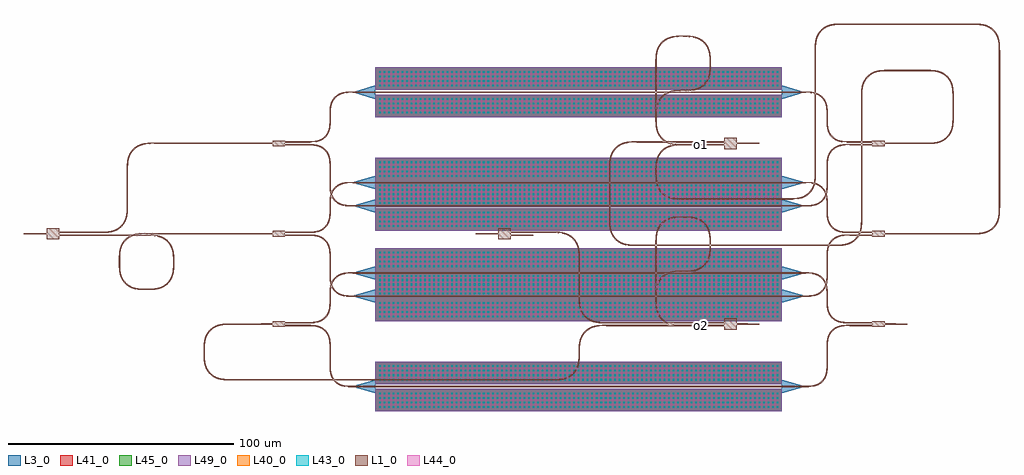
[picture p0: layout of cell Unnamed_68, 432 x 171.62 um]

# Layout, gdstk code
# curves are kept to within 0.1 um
from math import pi, radians
import gdstk
lib = gdstk.Library(unit=1e-6, precision=1e-09)
def R(c, l, rs):  # rectangles x0, y0, x1, y1
    for r in rs: c.add(gdstk.rectangle(r[:2], r[2:], *l))
def P(c, l, *ps):  # polygons
    for p in ps: c.add(gdstk.Polygon(p, *l))
L1_0 = (1, 0)
L3_0 = (3, 0)
L40_0 = (40, 0)
L41_0 = (41, 0)
L43_0 = (43, 0)
L44_0 = (44, 0)
L45_0 = (45, 0)
L49_0 = (49, 0)

mmi_gdsfactorypcomponent = lib.new_cell('mmi_gdsfactorypcomponentspmmispmmi_I1_O2_WNone_WT1_LT10_571b94f3')
P(mmi_gdsfactorypcomponent, L1_0, [(0,-2.5),(0,-0.5),(-10,-0.25),(-10,0.25),(0,0.5),(0,2.5),(5.5,2.5),(5.5,1.125),(15.5,0.875),(15.5,0.375),(5.5,0.125),(5.5,-0.125),(15.5,-0.375),(15.5,-0.875),(5.5,-1.125),(5.5,-2.5)])

mmi1x2_gdsfactorypcompon = lib.new_cell('mmi1x2_gdsfactorypcomponentspmmispmmi1x2_WNone_WT1_LT10_1f097353')
P(mmi1x2_gdsfactorypcompon, L1_0, [(0,-1.25),(0,-0.5),(-10,-0.25),(-10,0.25),(0,0.5),(0,1.25),(5.5,1.25),(5.5,1.125),(15.5,0.875),(15.5,0.375),(5.5,0.125),(5.5,-0.125),(15.5,-0.375),(15.5,-0.875),(5.5,-1.125),(5.5,-1.25)])

bend_euler_gdsfactorypco = lib.new_cell('bend_euler_gdsfactorypcomponentspbendspbend_euler_RNone_387600b2')
P(bend_euler_gdsfactorypco, L1_0, [(0,-0.25),(0,0.25),(2.881,0.353),(3.952,0.52),(4.99,0.806),(6.431,1.505),(7.575,2.425),(8.495,3.569),(9.194,5.01),(9.48,6.048),(9.647,7.119),(9.75,10),(10.25,10),(10.158,7.205),(9.797,5.254),(9.457,4.312),(9.066,3.545),(8.5,2.715),(7.928,2.072),(7.285,1.5),(6.455,0.934),(5.688,0.543),(4.746,0.203),(2.795,-0.158)])

straight_gdsfactorypcomp = lib.new_cell('straight_gdsfactorypcomponentspwaveguidespstraight_L2_N_815d3d03')
R(straight_gdsfactorypcomp, L1_0, [(0,-0.25,2,0.25)])

c_straight_gdsfactorypcomp = lib.new_cell('straight_gdsfactorypcomponentspwaveguidespstraight_L7_N_ecd9aecc')
R(c_straight_gdsfactorypcomp, L1_0, [(0,-0.25,7,0.25)])

c_straight_gdsfactorypcomp_ = lib.new_cell('straight_gdsfactorypcomponentspwaveguidespstraight_L180_c6573083')
R(c_straight_gdsfactorypcomp_, L1_0, [(0,-0.25,180,0.25)])

taper_strip_to_ridge_gds = lib.new_cell('taper_strip_to_ridge_gdsfactorypcomponentsptapersptaper_947a0bf0')
R(taper_strip_to_ridge_gds, L1_0, [(0,-0.25,10,0.25)])
P(taper_strip_to_ridge_gds, L3_0, [(10,-3),(0,-0.075),(0,0.075),(10,3)])

compass_gdsfactorypcompo = lib.new_cell('compass_gdsfactorypcomponentspshapespcompass_S180_10_LS_ac7757bf')
R(compass_gdsfactorypcompo, L3_0, [(-90,-5,90,5)])

c_compass_gdsfactorypcompo = lib.new_cell('compass_gdsfactorypcomponentspshapespcompass_S180_10_LM_4e0af846')
R(c_compass_gdsfactorypcompo, L41_0, [(-90,-5,90,5)])

c_compass_gdsfactorypcompo_ = lib.new_cell('compass_gdsfactorypcomponentspshapespcompass_S180_10_LM_ffb56291')
R(c_compass_gdsfactorypcompo_, L45_0, [(-90,-5,90,5)])

c_compass_gdsfactorypcompo__ = lib.new_cell('compass_gdsfactorypcomponentspshapespcompass_S180_10_LM_d431091e')
R(c_compass_gdsfactorypcompo__, L49_0, [(-90,-5,90,5)])

via_gdsfactorypcomponent = lib.new_cell('via_gdsfactorypcomponentspviaspvia_S0p7_0p7_E1_LVIAC_BL_572539c8')
R(via_gdsfactorypcomponent, L40_0, [(-0.35,-0.35,0.35,0.35)])

c_via_gdsfactorypcomponent = lib.new_cell('via_gdsfactorypcomponentspviaspvia_S0p7_0p7_E2_LVIA1_BL_efa29aa3')
R(c_via_gdsfactorypcomponent, L44_0, [(-0.35,-0.35,0.35,0.35)])

c_via_gdsfactorypcomponent_ = lib.new_cell('via_gdsfactorypcomponentspviaspvia_S0p7_0p7_E1_LVIA2_BL_c51b5ebb')
R(c_via_gdsfactorypcomponent_, L43_0, [(-0.35,-0.35,0.35,0.35)])

via_stack_gdsfactorypcom = lib.new_cell('via_stack_gdsfactorypcomponentspviaspvia_stack_S180_10__ac52c1b0')
via_stack_gdsfactorypcom.add(gdstk.Reference(compass_gdsfactorypcompo, (0,0)))
via_stack_gdsfactorypcom.add(gdstk.Reference(c_compass_gdsfactorypcompo, (0,0)))
via_stack_gdsfactorypcom.add(gdstk.Reference(c_compass_gdsfactorypcompo_, (0,0)))
via_stack_gdsfactorypcom.add(gdstk.Reference(c_compass_gdsfactorypcompo__, (0,0)))
r = gdstk.Reference(via_gdsfactorypcomponent, (-88,-3)); r.repetition = gdstk.Repetition(89, 4, v1=(2,0), v2=(0,2)); via_stack_gdsfactorypcom.add(r)
r = gdstk.Reference(c_via_gdsfactorypcomponent, (-87,-2)); r.repetition = gdstk.Repetition(88, 3, v1=(2,0), v2=(0,2)); via_stack_gdsfactorypcom.add(r)
r = gdstk.Reference(c_via_gdsfactorypcomponent_, (-88,-3)); r.repetition = gdstk.Repetition(89, 4, v1=(2,0), v2=(0,2)); via_stack_gdsfactorypcom.add(r)

straight_pin_gdsfactoryp = lib.new_cell('straight_pin_gdsfactorypcomponentspwaveguidespstraight__77e81821')
straight_pin_gdsfactoryp.add(gdstk.Reference(c_straight_gdsfactorypcomp_, (0,0)))
straight_pin_gdsfactoryp.add(gdstk.Reference(taper_strip_to_ridge_gds, (-10,0)))
straight_pin_gdsfactoryp.add(gdstk.Reference(taper_strip_to_ridge_gds, (190,0), rotation=pi))
straight_pin_gdsfactoryp.add(gdstk.Reference(via_stack_gdsfactorypcom, (90,6)))
straight_pin_gdsfactoryp.add(gdstk.Reference(via_stack_gdsfactorypcom, (90,-6)))

mzi_gdsfactorypcomponent = lib.new_cell('mzi_gdsfactorypcomponentspmzispmzi_DL10_LY2_LX200_Bbend_d03ef107')
mzi_gdsfactorypcomponent.add(gdstk.Reference(mmi1x2_gdsfactorypcompon, (0,0)))
mzi_gdsfactorypcomponent.add(gdstk.Reference(bend_euler_gdsfactorypco, (15.5,-0.625), x_reflection=True))
mzi_gdsfactorypcomponent.add(gdstk.Reference(bend_euler_gdsfactorypco, (25.5,-17.625), rotation=3*pi/2))
mzi_gdsfactorypcomponent.add(gdstk.Reference(bend_euler_gdsfactorypco, (15.5,0.625)))
mzi_gdsfactorypcomponent.add(gdstk.Reference(bend_euler_gdsfactorypco, (35.5,22.625), rotation=pi))
mzi_gdsfactorypcomponent.add(gdstk.Reference(bend_euler_gdsfactorypco, (245.5,12.625), rotation=pi/2))
mzi_gdsfactorypcomponent.add(gdstk.Reference(bend_euler_gdsfactorypco, (245.5,10.625), rotation=3*pi/2))
mzi_gdsfactorypcomponent.add(gdstk.Reference(bend_euler_gdsfactorypco, (235.5,-27.625)))
mzi_gdsfactorypcomponent.add(gdstk.Reference(bend_euler_gdsfactorypco, (255.5,-0.625), rotation=pi))
mzi_gdsfactorypcomponent.add(gdstk.Reference(straight_gdsfactorypcomp, (25.5,10.625), rotation=pi/2))
mzi_gdsfactorypcomponent.add(gdstk.Reference(c_straight_gdsfactorypcomp, (25.5,-10.625), rotation=3*pi/2))
mzi_gdsfactorypcomponent.add(gdstk.Reference(straight_pin_gdsfactoryp, (45.5,22.625)))
mzi_gdsfactorypcomponent.add(gdstk.Reference(straight_pin_gdsfactoryp, (45.5,-27.625)))
mzi_gdsfactorypcomponent.add(gdstk.Reference(mmi1x2_gdsfactorypcompon, (271,0), rotation=pi, x_reflection=True))
mzi_gdsfactorypcomponent.add(gdstk.Reference(straight_gdsfactorypcomp, (245.5,10.625), rotation=pi/2))
mzi_gdsfactorypcomponent.add(gdstk.Reference(c_straight_gdsfactorypcomp, (245.5,-17.625), rotation=pi/2))

c_mmi_gdsfactorypcomponent = lib.new_cell('mmi_gdsfactorypcomponentspmmispmmi_I2_O1_WNone_WT1_LT10_62ac434d')
P(c_mmi_gdsfactorypcomponent, L1_0, [(0,-2.5),(0,-1.125),(-10,-0.875),(-10,-0.375),(0,-0.125),(0,0.125),(-10,0.375),(-10,0.875),(0,1.125),(0,2.5),(5.5,2.5),(5.5,0.5),(15.5,0.25),(15.5,-0.25),(5.5,-0.5),(5.5,-2.5)])

c_bend_euler_gdsfactorypco = lib.new_cell('bend_euler_gdsfactorypcomponentspbendspbend_euler_R12_A_9e9e73f9')
P(c_bend_euler_gdsfactorypco, L1_0, [(0,-0.25),(0,0.25),(1.893,0.27),(3.499,0.378),(4.815,0.589),(5.963,0.906),(6.826,1.256),(7.653,1.707),(8.422,2.249),(9.125,2.875),(9.751,3.578),(10.293,4.347),(10.744,5.174),(11.094,6.037),(11.411,7.185),(11.622,8.501),(11.73,10.107),(11.75,12),(12.25,12),(12.147,8.72),(11.981,7.488),(11.733,6.406),(11.369,5.351),(10.865,4.328),(10.317,3.493),(9.579,2.623),(8.733,1.857),(7.795,1.208),(6.78,0.686),(5.728,0.306),(4.512,0.019),(3.28,-0.147)])

c_straight_gdsfactorypcomp__ = lib.new_cell('straight_gdsfactorypcomponentspwaveguidespstraight_L8p2_ef4555e0')
R(c_straight_gdsfactorypcomp__, L1_0, [(0,-0.25,8.25,0.25)])

c_straight_gdsfactorypcomp___ = lib.new_cell('straight_gdsfactorypcomponentspwaveguidespstraight_L15p_4ae217e7')
R(c_straight_gdsfactorypcomp___, L1_0, [(0,-0.25,15.375,0.25)])

c_straight_gdsfactorypcomp____ = lib.new_cell('straight_gdsfactorypcomponentspwaveguidespstraight_L42p_e911443d')
R(c_straight_gdsfactorypcomp____, L1_0, [(0,-0.25,42.25,0.25)])

c_straight_gdsfactorypcomp_____ = lib.new_cell('straight_gdsfactorypcomponentspwaveguidespstraight_L28p_35f6d910')
R(c_straight_gdsfactorypcomp_____, L1_0, [(0,-0.25,28.75,0.25)])

c_straight_gdsfactorypcomp______ = lib.new_cell('straight_gdsfactorypcomponentspwaveguidespstraight_L0p6_1afb0928')
R(c_straight_gdsfactorypcomp______, L1_0, [(0,-0.25,0.625,0.25)])

c_straight_gdsfactorypcomp_______ = lib.new_cell('straight_gdsfactorypcomponentspwaveguidespstraight_L45p_aac8c24e')
R(c_straight_gdsfactorypcomp_______, L1_0, [(0,-0.25,45.75,0.25)])

c_straight_gdsfactorypcomp________ = lib.new_cell('straight_gdsfactorypcomponentspwaveguidespstraight_L16p_2c325ffd')
R(c_straight_gdsfactorypcomp________, L1_0, [(0,-0.25,16.501,0.25)])

c_straight_gdsfactorypcomp_________ = lib.new_cell('straight_gdsfactorypcomponentspwaveguidespstraight_L53p_8c3c79f9')
R(c_straight_gdsfactorypcomp_________, L1_0, [(0,-0.25,53.375,0.25)])

c_straight_gdsfactorypcomp__________ = lib.new_cell('straight_gdsfactorypcomponentspwaveguidespstraight_L87p_02055dd5')
R(c_straight_gdsfactorypcomp__________, L1_0, [(0,-0.25,87.499,0.25)])

c_straight_gdsfactorypcomp___________ = lib.new_cell('straight_gdsfactorypcomponentspwaveguidespstraight_L21p_b419e0d6')
R(c_straight_gdsfactorypcomp___________, L1_0, [(0,-0.25,21.75,0.25)])

c_straight_gdsfactorypcomp____________ = lib.new_cell('straight_gdsfactorypcomponentspwaveguidespstraight_L68p_f6315237')
R(c_straight_gdsfactorypcomp____________, L1_0, [(0,-0.25,68.75,0.25)])

c_straight_gdsfactorypcomp_____________ = lib.new_cell('straight_gdsfactorypcomponentspwaveguidespstraight_L57p_bef31fd0')
R(c_straight_gdsfactorypcomp_____________, L1_0, [(0,-0.25,57.501,0.25)])

c_straight_gdsfactorypcomp______________ = lib.new_cell('straight_gdsfactorypcomponentspwaveguidespstraight_L46p_6c3e27a2')
R(c_straight_gdsfactorypcomp______________, L1_0, [(0,-0.25,46.499,0.25)])

c_straight_gdsfactorypcomp_______________ = lib.new_cell('straight_gdsfactorypcomponentspwaveguidespstraight_L16__13706f7a')
R(c_straight_gdsfactorypcomp_______________, L1_0, [(0,-0.25,16,0.25)])

c_straight_gdsfactorypcomp________________ = lib.new_cell('straight_gdsfactorypcomponentspwaveguidespstraight_L142_53838707')
R(c_straight_gdsfactorypcomp________________, L1_0, [(0,-0.25,142,0.25)])

c_straight_gdsfactorypcomp_________________ = lib.new_cell('straight_gdsfactorypcomponentspwaveguidespstraight_L24__0335c6ec')
R(c_straight_gdsfactorypcomp_________________, L1_0, [(0,-0.25,24,0.25)])

unnamed_68 = lib.new_cell('Unnamed_68')
P(unnamed_68, L1_0, [(290,39.125),(289.75,39.375),(289.938,39.563),(289.975,39.563),(289.785,39.375),(289.975,39.375),(289.975,39.563),(289.938,39.563),(290,39.625)],
  [(290,-40.875),(289.75,-40.625),(289.938,-40.437),(289.975,-40.437),(289.785,-40.625),(289.975,-40.625),(289.975,-40.437),(289.938,-40.437),(290,-40.375)],
  [(290,39.125),(289.75,39.375),(289.938,39.563),(289.975,39.563),(289.785,39.375),(289.975,39.375),(289.975,39.563),(289.938,39.563),(290,39.625)],
  [(290,-40.875),(289.75,-40.625),(289.938,-40.437),(289.975,-40.437),(289.785,-40.625),(289.975,-40.625),(289.975,-40.437),(289.938,-40.437),(290,-40.375)])
unnamed_68.add(gdstk.Reference(mmi_gdsfactorypcomponent, (0,0)))
unnamed_68.add(gdstk.Reference(mmi_gdsfactorypcomponent, (200,0)))
unnamed_68.add(gdstk.Reference(mzi_gdsfactorypcomponent, (100,40)))
unnamed_68.add(gdstk.Reference(mzi_gdsfactorypcomponent, (100,0)))
unnamed_68.add(gdstk.Reference(mzi_gdsfactorypcomponent, (100,-40)))
unnamed_68.add(gdstk.Reference(c_mmi_gdsfactorypcomponent, (300,40)))
unnamed_68.add(gdstk.Reference(c_mmi_gdsfactorypcomponent, (300,-40)))
unnamed_68.add(gdstk.Reference(c_bend_euler_gdsfactorypco, (35.75,12.625), rotation=3*pi/2, x_reflection=True))
unnamed_68.add(gdstk.Reference(c_straight_gdsfactorypcomp__, (15.5,0.625)))
unnamed_68.add(gdstk.Reference(c_bend_euler_gdsfactorypco, (47.75,40), rotation=pi))
unnamed_68.add(gdstk.Reference(c_straight_gdsfactorypcomp___, (35.75,12.625), rotation=pi/2))
unnamed_68.add(gdstk.Reference(c_straight_gdsfactorypcomp____, (47.75,40)))
unnamed_68.add(gdstk.Reference(c_bend_euler_gdsfactorypco, (56.25,-12.625), rotation=pi/2))
unnamed_68.add(gdstk.Reference(c_straight_gdsfactorypcomp_____, (15.5,-0.625)))
unnamed_68.add(gdstk.Reference(c_bend_euler_gdsfactorypco, (44.25,-24.625)))
unnamed_68.add(gdstk.Reference(c_bend_euler_gdsfactorypco, (32.25,-12.625), rotation=3*pi/2))
unnamed_68.add(gdstk.Reference(c_bend_euler_gdsfactorypco, (44.25,0), rotation=pi))
unnamed_68.add(gdstk.Reference(c_straight_gdsfactorypcomp______, (32.25,-12.625), rotation=pi/2))
unnamed_68.add(gdstk.Reference(c_straight_gdsfactorypcomp_______, (44.25,0)))
unnamed_68.add(gdstk.Reference(c_bend_euler_gdsfactorypco, (401.25,52), rotation=3*pi/2, x_reflection=True))
unnamed_68.add(gdstk.Reference(c_straight_gdsfactorypcomp__, (381,40)))
unnamed_68.add(gdstk.Reference(c_bend_euler_gdsfactorypco, (389.25,72.25), x_reflection=True))
unnamed_68.add(gdstk.Reference(c_straight_gdsfactorypcomp__, (401.25,52), rotation=pi/2))
unnamed_68.add(gdstk.Reference(c_bend_euler_gdsfactorypco, (360.749,60.25), rotation=pi/2, x_reflection=True))
unnamed_68.add(gdstk.Reference(c_straight_gdsfactorypcomp________, (389.25,72.25), rotation=pi))
unnamed_68.add(gdstk.Reference(c_bend_euler_gdsfactorypco, (348.749,-5.125)))
unnamed_68.add(gdstk.Reference(c_straight_gdsfactorypcomp_________, (360.749,60.25), rotation=3*pi/2))
unnamed_68.add(gdstk.Reference(c_bend_euler_gdsfactorypco, (249.25,6.875), rotation=3*pi/2))
unnamed_68.add(gdstk.Reference(c_straight_gdsfactorypcomp__________, (348.749,-5.125), rotation=pi))
unnamed_68.add(gdstk.Reference(c_bend_euler_gdsfactorypco, (261.25,40.625), rotation=pi))
unnamed_68.add(gdstk.Reference(c_straight_gdsfactorypcomp___________, (249.25,6.875), rotation=pi/2))
unnamed_68.add(gdstk.Reference(c_straight_gdsfactorypcomp_____, (261.25,40.625)))
unnamed_68.add(gdstk.Reference(c_bend_euler_gdsfactorypco, (421.75,12), rotation=3*pi/2, x_reflection=True))
unnamed_68.add(gdstk.Reference(c_straight_gdsfactorypcomp_____, (381,0)))
unnamed_68.add(gdstk.Reference(c_bend_euler_gdsfactorypco, (409.75,92.75), x_reflection=True))
unnamed_68.add(gdstk.Reference(c_straight_gdsfactorypcomp____________, (421.75,12), rotation=pi/2))
unnamed_68.add(gdstk.Reference(c_bend_euler_gdsfactorypco, (340.249,80.75), rotation=pi/2, x_reflection=True))
unnamed_68.add(gdstk.Reference(c_straight_gdsfactorypcomp_____________, (409.75,92.75), rotation=pi))
unnamed_68.add(gdstk.Reference(c_bend_euler_gdsfactorypco, (328.249,15.375)))
unnamed_68.add(gdstk.Reference(c_straight_gdsfactorypcomp_________, (340.249,80.75), rotation=3*pi/2))
unnamed_68.add(gdstk.Reference(c_bend_euler_gdsfactorypco, (269.75,27.375), rotation=3*pi/2))
unnamed_68.add(gdstk.Reference(c_straight_gdsfactorypcomp______________, (328.249,15.375), rotation=pi))
unnamed_68.add(gdstk.Reference(c_bend_euler_gdsfactorypco, (281.75,39.375), rotation=pi))
unnamed_68.add(gdstk.Reference(c_straight_gdsfactorypcomp__, (281.75,39.375)))
unnamed_68.add(gdstk.Reference(c_bend_euler_gdsfactorypco, (235.75,-11.375), rotation=pi/2))
unnamed_68.add(gdstk.Reference(c_straight_gdsfactorypcomp__, (215.5,0.625)))
unnamed_68.add(gdstk.Reference(c_bend_euler_gdsfactorypco, (247.75,-39.375), rotation=pi, x_reflection=True))
unnamed_68.add(gdstk.Reference(c_straight_gdsfactorypcomp_______________, (235.75,-11.375), rotation=3*pi/2))
unnamed_68.add(gdstk.Reference(c_straight_gdsfactorypcomp____, (247.75,-39.375)))
unnamed_68.add(gdstk.Reference(c_bend_euler_gdsfactorypco, (69.75,-52), rotation=pi/2, x_reflection=True))
unnamed_68.add(gdstk.Reference(c_straight_gdsfactorypcomp__, (90,-40), rotation=pi))
unnamed_68.add(gdstk.Reference(c_bend_euler_gdsfactorypco, (81.75,-64.625), rotation=pi, x_reflection=True))
unnamed_68.add(gdstk.Reference(c_straight_gdsfactorypcomp______, (69.75,-52), rotation=3*pi/2))
unnamed_68.add(gdstk.Reference(c_bend_euler_gdsfactorypco, (235.75,-52.625), rotation=3*pi/2, x_reflection=True))
unnamed_68.add(gdstk.Reference(c_straight_gdsfactorypcomp________________, (81.75,-64.625)))
unnamed_68.add(gdstk.Reference(c_bend_euler_gdsfactorypco, (247.75,-40.625), rotation=pi))
unnamed_68.add(gdstk.Reference(c_straight_gdsfactorypcomp____, (247.75,-40.625)))
unnamed_68.add(gdstk.Reference(c_bend_euler_gdsfactorypco, (269.75,51.375), rotation=3*pi/2))
unnamed_68.add(gdstk.Reference(c_straight_gdsfactorypcomp__, (290,39.375), rotation=pi))
unnamed_68.add(gdstk.Reference(c_bend_euler_gdsfactorypco, (281.75,87.375), rotation=pi))
unnamed_68.add(gdstk.Reference(c_straight_gdsfactorypcomp_________________, (269.75,51.375), rotation=pi/2))
unnamed_68.add(gdstk.Reference(c_bend_euler_gdsfactorypco, (293.75,75.375), rotation=pi/2))
unnamed_68.add(gdstk.Reference(c_bend_euler_gdsfactorypco, (281.75,63.375)))
unnamed_68.add(gdstk.Reference(c_bend_euler_gdsfactorypco, (269.75,51.375), rotation=pi/2, x_reflection=True))
unnamed_68.add(gdstk.Reference(c_bend_euler_gdsfactorypco, (281.75,39.375), rotation=pi, x_reflection=True))
unnamed_68.add(gdstk.Reference(c_straight_gdsfactorypcomp__, (281.75,39.375)))
unnamed_68.add(gdstk.Reference(c_bend_euler_gdsfactorypco, (269.75,-28.625), rotation=3*pi/2))
unnamed_68.add(gdstk.Reference(c_straight_gdsfactorypcomp__, (290,-40.625), rotation=pi))
unnamed_68.add(gdstk.Reference(c_bend_euler_gdsfactorypco, (281.75,7.375), rotation=pi))
unnamed_68.add(gdstk.Reference(c_straight_gdsfactorypcomp_________________, (269.75,-28.625), rotation=pi/2))
unnamed_68.add(gdstk.Reference(c_bend_euler_gdsfactorypco, (293.75,-4.625), rotation=pi/2))
unnamed_68.add(gdstk.Reference(c_bend_euler_gdsfactorypco, (281.75,-16.625)))
unnamed_68.add(gdstk.Reference(c_bend_euler_gdsfactorypco, (269.75,-28.625), rotation=pi/2, x_reflection=True))
unnamed_68.add(gdstk.Reference(c_bend_euler_gdsfactorypco, (281.75,-40.625), rotation=pi, x_reflection=True))
unnamed_68.add(gdstk.Reference(c_straight_gdsfactorypcomp__, (281.75,-40.625)))
unnamed_68.add(gdstk.Label('o1', (290,39.375), layer=1, texttype=0))
unnamed_68.add(gdstk.Label('o2', (290,-40.625), layer=1, texttype=0))
unnamed_68.add(gdstk.Label('o1', (290,39.375), layer=1, texttype=0))
unnamed_68.add(gdstk.Label('o2', (290,-40.625), layer=1, texttype=0))

lib.write_gds('Unnamed_68.gds')
